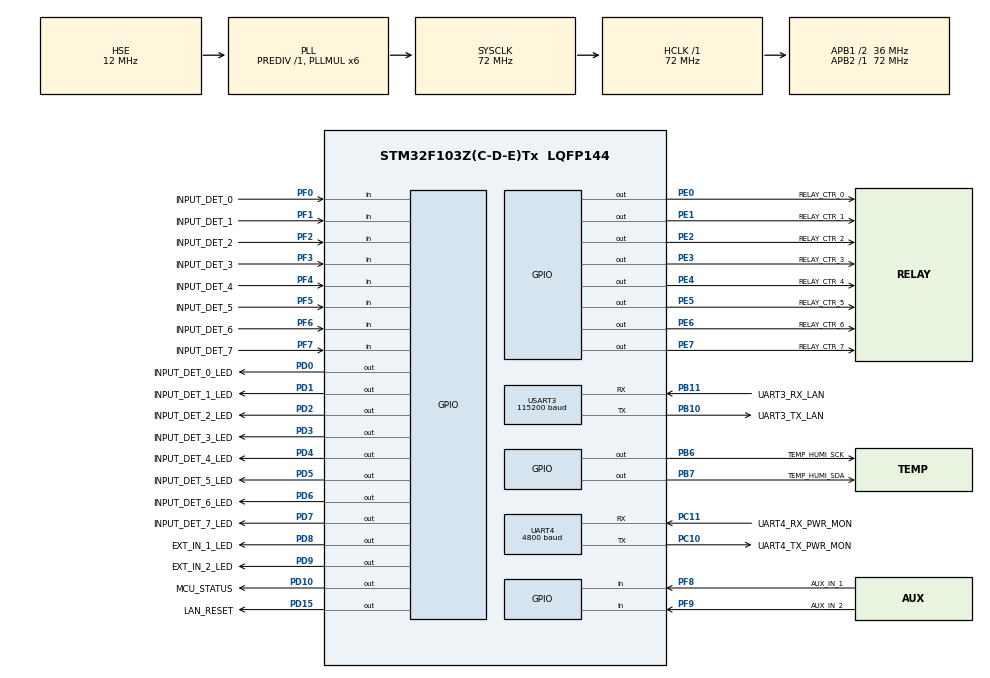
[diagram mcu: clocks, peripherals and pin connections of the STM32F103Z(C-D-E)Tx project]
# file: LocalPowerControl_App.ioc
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IWDG.Prescaler=IWDG_PRESCALER_256
IWDG.Reload=625
Mcu.Family=STM32F1
Mcu.Name=STM32F103Z(C-D-E)Tx
Mcu.Package=LQFP144
NVIC.PriorityGroup=NVIC_PRIORITYGROUP_4
NVIC.TIM2_IRQn=true\:0\:0\:false\:false\:true\:true\:true
NVIC.TIM3_IRQn=true\:0\:0\:false\:false\:true\:true\:true
NVIC.UART4_IRQn=true\:0\:0\:false\:false\:true\:true\:true
NVIC.USART3_IRQn=true\:0\:0\:false\:false\:true\:true\:true
OSC_IN.Mode=HSE-External-Oscillator
OSC_IN.Signal=RCC_OSC_IN
OSC_OUT.Mode=HSE-External-Oscillator
OSC_OUT.Signal=RCC_OSC_OUT
PA13.Mode=JTAG_5_pins
PA13.Signal=SYS_JTMS-SWDIO
PA14.Mode=JTAG_5_pins
PA14.Signal=SYS_JTCK-SWCLK
PA15.Mode=JTAG_5_pins
PA15.Signal=SYS_JTDI
PB10.GPIO_Label=UART3_TX_LAN
PB10.Mode=Asynchronous
PB10.Signal=USART3_TX
PB11.GPIO_Label=UART3_RX_LAN
PB11.Mode=Asynchronous
PB11.Signal=USART3_RX
PB3.Mode=JTAG_5_pins
PB3.Signal=SYS_JTDO-TRACESWO
PB4.Mode=JTAG_5_pins
PB4.Signal=SYS_NJTRST
PB6.GPIO_Label=TEMP_HUMI_SCK
PB6.Signal=GPIO_Output
PB7.GPIO_Label=TEMP_HUMI_SDA
PB7.Signal=GPIO_Output
PC10.GPIO_Label=UART4_TX_PWR_MON
PC10.Mode=Asynchronous
PC10.Signal=UART4_TX
PC11.GPIO_Label=UART4_RX_PWR_MON
PC11.Mode=Asynchronous
PC11.Signal=UART4_RX
PD0.GPIO_Label=INPUT_DET_0_LED
PD0.Signal=GPIO_Output
PD1.GPIO_Label=INPUT_DET_1_LED
PD1.Signal=GPIO_Output
PD10.GPIO_Label=MCU_STATUS
PD10.Signal=GPIO_Output
PD15.GPIO_Label=LAN_RESET
PD15.Signal=GPIO_Output
PD2.GPIO_Label=INPUT_DET_2_LED
PD2.Signal=GPIO_Output
PD3.GPIO_Label=INPUT_DET_3_LED
PD3.Signal=GPIO_Output
PD4.GPIO_Label=INPUT_DET_4_LED
PD4.Signal=GPIO_Output
PD5.GPIO_Label=INPUT_DET_5_LED
PD5.Signal=GPIO_Output
PD6.GPIO_Label=INPUT_DET_6_LED
PD6.Signal=GPIO_Output
PD7.GPIO_Label=INPUT_DET_7_LED
PD7.Signal=GPIO_Output
PD8.GPIO_Label=EXT_IN_1_LED
PD8.Signal=GPIO_Output
PD9.GPIO_Label=EXT_IN_2_LED
PD9.Signal=GPIO_Output
PE0.GPIO_Label=RELAY_CTR_0
PE0.Signal=GPIO_Output
PE1.GPIO_Label=RELAY_CTR_1
PE1.Signal=GPIO_Output
PE2.GPIO_Label=RELAY_CTR_2
PE2.Signal=GPIO_Output
PE3.GPIO_Label=RELAY_CTR_3
PE3.Signal=GPIO_Output
PE4.GPIO_Label=RELAY_CTR_4
PE4.Signal=GPIO_Output
PE5.GPIO_Label=RELAY_CTR_5
PE5.Signal=GPIO_Output
PE6.GPIO_Label=RELAY_CTR_6
PE6.Signal=GPIO_Output
PE7.GPIO_Label=RELAY_CTR_7
PE7.Signal=GPIO_Output
PF0.GPIO_Label=INPUT_DET_0
PF0.Signal=GPIO_Input
PF1.GPIO_Label=INPUT_DET_1
PF1.Signal=GPIO_Input
PF2.GPIO_Label=INPUT_DET_2
PF2.Signal=GPIO_Input
PF3.GPIO_Label=INPUT_DET_3
PF3.Signal=GPIO_Input
PF4.GPIO_Label=INPUT_DET_4
PF4.Signal=GPIO_Input
PF5.GPIO_Label=INPUT_DET_5
PF5.Signal=GPIO_Input
PF6.GPIO_Label=INPUT_DET_6
PF6.Signal=GPIO_Input
PF7.GPIO_Label=INPUT_DET_7
PF7.Signal=GPIO_Input
PF8.GPIO_Label=AUX_IN_1
PF8.Signal=GPIO_Input
PF9.GPIO_Label=AUX_IN_2
PF9.Signal=GPIO_Input
ProjectManager.HeapSize=0x200
ProjectManager.StackSize=0x400
ProjectManager.TargetToolchain=EWARM V7
RCC.AHBFreq_Value=72000000
RCC.APB1CLKDivider=RCC_HCLK_DIV2
RCC.APB1Freq_Value=36000000
RCC.APB1TimFreq_Value=72000000
RCC.APB2Freq_Value=72000000
RCC.APB2TimFreq_Value=72000000
RCC.HCLKFreq_Value=72000000
RCC.HSE_VALUE=12000000
RCC.PLLMUL=RCC_PLL_MUL6
RCC.PLLSourceVirtual=RCC_PLLSOURCE_HSE
RCC.RCC_MCOSource=RCC_MCO1SOURCE_PLLCLK
RCC.SYSCLKFreq_VALUE=72000000
RCC.SYSCLKSource=RCC_SYSCLKSOURCE_PLLCLK
RCC.USBFreq_Value=72000000
TIM2.AutoReloadPreload=TIM_AUTORELOAD_PRELOAD_DISABLE
TIM2.Period=999
TIM2.Prescaler=72
TIM3.Period=1
TIM3.Prescaler=72
UART4.BaudRate=4800
UART4.VirtualMode=Asynchronous
USART3.BaudRate=115200
USART3.VirtualMode=VM_ASYNC
VP_IWDG_VS_IWDG.Mode=IWDG_Activate
VP_TIM2_VS_ClockSourceINT.Mode=Internal
VP_TIM3_VS_ClockSourceINT.Mode=Internal
board=custom

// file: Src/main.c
/* USER CODE BEGIN Header */
/**
  ******************************************************************************
  * @file           : main.c
  * @brief          : Main program body
  ******************************************************************************
  * @attention
  *
  * <h2><center>&copy; Copyright (c) 2019 STMicroelectronics.
  * All rights reserved.</center></h2>
  *
  * This software component is licensed by ST under BSD 3-Clause license,
  * the "License"; You may not use this file except in compliance with the
  * License. You may obtain a copy of the License at:
  *                        opensource.org/licenses/BSD-3-Clause
  *
  ******************************************************************************
  */
/* USER CODE END Header */

#include "main.h"

/* USER CODE BEGIN Includes */
#include "eeprom.h"
#pragma location=".Ver_Info"
const unsigned char VerInfo[8] = {0x7E, 0x81, 0x96, 0xA5, 0x64, 0x42, 1, 0};	// Parsing Flag + Version 0.1
#pragma location=".App_Start"
/* USER CODE END Includes */

IWDG_HandleTypeDef hiwdg;

TIM_HandleTypeDef htim2;
TIM_HandleTypeDef htim3;

UART_HandleTypeDef huart4;
UART_HandleTypeDef huart3;

/* USER CODE BEGIN PV */
unsigned int TimerDelay;
unsigned int TimerShtRead;
unsigned int TimerRefreshIwdg;
unsigned int TimerInputScan;
unsigned int TimerMcuStatusLed;
unsigned int TimerUart3Parsing;
unsigned int TimerUart4Parsing;
unsigned int TimerLedForChannel;
unsigned int Timer1ms = 1000;
unsigned int Timer10us;
unsigned char McuStatusLedState;

unsigned char Uart3TxBuf[UART3_TX_BUF_SIZE];
unsigned char Uart3RxBuf[UART3_RX_BUF_SIZE];
unsigned char Uart3DataBuf[UART3_DATA_BUF_SIZE];
unsigned short Uart3RxWrCnt;
unsigned short Uart3RxRdCnt;
unsigned char Uart3RxData;
unsigned char Uart3ParsingState;
unsigned short Uart3Cks;
unsigned short Uart3DataLength;
unsigned short Uart3DataCnt;
unsigned char Uart3Cmd;

unsigned char Uart4TxBuf[UART4_TX_BUF_SIZE];
unsigned char Uart4RxBuf[UART4_RX_BUF_SIZE];
unsigned char Uart4DataBuf[UART4_DATA_BUF_SIZE];
unsigned char Uart4RxWrCnt;
unsigned char Uart4RxRdCnt;
unsigned char Uart4RxData;
unsigned char Uart4ParsingState;
unsigned char Uart4Cks;
unsigned char Uart4DataLength;
unsigned char Uart4DataCnt;
unsigned char Uart4Cmd;

unsigned char ChannelRelayState;
unsigned char InputScanState;
unsigned int InputOld;
unsigned int InputNow;
unsigned short ShtStatusReg;
double TemperatureRaw;
unsigned short Temperature;
double HumidityRaw;
unsigned short Humidity;
unsigned char ShtCmd;
GPIO_TypeDef* LedPort[8] =
{
	INPUT_DET_0_LED_GPIO_Port,
	INPUT_DET_1_LED_GPIO_Port,
	INPUT_DET_2_LED_GPIO_Port,
	INPUT_DET_3_LED_GPIO_Port,
	INPUT_DET_4_LED_GPIO_Port,
	INPUT_DET_5_LED_GPIO_Port,
	INPUT_DET_6_LED_GPIO_Port,
	INPUT_DET_7_LED_GPIO_Port,
};
unsigned short LedPin[8] =
{
	INPUT_DET_0_LED_Pin,
	INPUT_DET_1_LED_Pin,
	INPUT_DET_2_LED_Pin,
	INPUT_DET_3_LED_Pin,
	INPUT_DET_4_LED_Pin,
	INPUT_DET_5_LED_Pin,
	INPUT_DET_6_LED_Pin,
	INPUT_DET_7_LED_Pin,
};
unsigned char LedCnt=0;
unsigned char LedForChannel_OnOff=0;

unsigned short VirtAddVarTab[NB_OF_VAR] = {
	0x0000,0x0001,0x0002,0x0003,0x0004,0x0005,0x0006,0x0007,0x0008,0x0009,0x000A,0x000B,0x000C,0x000D,0x000E,0x000F,	// 00~15 (for BootLoader)
	0x0010,0x0011,0x0012,0x0013,0x0014,0x0015,0x0016,0x0017,0x0018,0x0019,0x001A,0x001B,0x001C,0x001D,0x001E,0x001F,	// 16~31 (for App)
	0x0020,0x0021,0x0022,0x0023,0x0024,0x0025,0x0026,0x0027,0x0028,0x0029,0x002A,0x002B,0x002C,0x002D,0x002E,0x002F,	// 32~47 (for App)
	0x0030,0x0031,0x0032,0x0033,0x0034,0x0035,0x0036,0x0037,0x0038,0x0039,0x003A,0x003B,0x003C,0x003D,0x003E,0x003F,	// 48~63 (for App)
};
unsigned short VarDataTab[NB_OF_VAR] = {
	0x1234,0,0,0,0,RELAY_OFF,0,
};
unsigned short VarValue = 0;
/* USER CODE END PV */

void SystemClock_Config(void);
static void MX_GPIO_Init(void);
static void MX_IWDG_Init(void);
static void MX_UART4_Init(void);
static void MX_USART3_UART_Init(void);
static void MX_TIM2_Init(void);
static void MX_TIM3_Init(void);
/* USER CODE BEGIN PFP */
void Eeprom_Check_Init(void);
unsigned short Eeprom_Read(unsigned short Addr);
unsigned short Eeprom_Write(unsigned short Addr, unsigned short Value);
void GpioModeChange(GPIO_TypeDef * Port, unsigned short Pin, unsigned char InOutMode);
void Delay10us(unsigned int DelayCnt);
void ReadStatusRegSht(void);
unsigned char SendCmdSht(unsigned char Cmd);
void ReadMeasureSht(void);
void Channel_Relay_Cont(unsigned char Channel, unsigned char OnOff);
void Led_Cont(unsigned char Led, GPIO_PinState OnOff);
void Refresh_IWDG(void);
void Input_Scan(void);
void MCU_Status_Led_Cont(void);
void LedForChannel_Display(void);
void Send_BoardToPc_WithCks(unsigned char* pBuf, unsigned short Length);
void Send_BoardToPwrMon_WithCks(unsigned char* pBuf, unsigned char Length);
void Uart3_Ethernet_Parsing(void);
void Uart4_PwrMon_Parsing(void);
/* USER CODE END PFP */

/* USER CODE BEGIN 0 */
void HAL_TIM_PeriodElapsedCallback(TIM_HandleTypeDef *htim)
{
	if(htim->Instance == TIM2)
	{
		if(TimerDelay)
		{
			TimerDelay--;
		}
		if(TimerShtRead)
		{
			TimerShtRead--;
		}
		if(TimerRefreshIwdg)
		{
			TimerRefreshIwdg--;
		}
		if(TimerInputScan)
		{
			TimerInputScan--;
		}
		if(TimerMcuStatusLed)
		{
			TimerMcuStatusLed--;
		}
		if(TimerUart3Parsing)
		{
			TimerUart3Parsing--;
		}
		if(TimerUart4Parsing)
		{
			TimerUart4Parsing--;
		}
		if(TimerLedForChannel)
		{
			TimerLedForChannel--;
		}
		if(Timer1ms)
		{
			Timer1ms--;
			if(Timer1ms==0)
			{
				Timer1ms = 1000;
			}
		}
	}
	if(htim->Instance == TIM3)
	{
		if(Timer10us)
		{
			Timer10us--;
		}
	}
}

void HAL_UART_RxCpltCallback(UART_HandleTypeDef *huart)
{
	if(huart->Instance==USART3)
	{
		Uart3RxBuf[Uart3RxWrCnt] = Uart3RxData;
		HAL_UART_Receive_IT(&huart3, &Uart3RxData, 1);
		Uart3RxWrCnt++;
		if(Uart3RxWrCnt==UART3_RX_BUF_SIZE)
		{
			Uart3RxWrCnt = 0;
		}
	}
	if(huart->Instance==UART4)
	{
		Uart4RxBuf[Uart4RxWrCnt] = Uart4RxData;
		HAL_UART_Receive_IT(&huart4, &Uart4RxData, 1);
		Uart4RxWrCnt++;
		if(Uart4RxWrCnt==UART4_RX_BUF_SIZE)
		{
			Uart4RxWrCnt = 0;
		}
	}
}
/* USER CODE END 0 */

int main(void)
{

  /* MCU Configuration--------------------------------------------------------*/

  /* Reset of all peripherals, Initializes the Flash interface and the Systick. */
  HAL_Init();

  /* Configure the system clock */
  SystemClock_Config();

  /* USER CODE BEGIN SysInit */
	Eeprom_Check_Init();	// bySeo_20190712
  /* USER CODE END SysInit */

  /* Initialize all configured peripherals */
  MX_GPIO_Init();
  MX_IWDG_Init();
  MX_UART4_Init();
  MX_USART3_UART_Init();
  MX_TIM2_Init();
  MX_TIM3_Init();
  /* USER CODE BEGIN 2 */
	HAL_GPIO_WritePin(LAN_RESET_GPIO_Port, LAN_RESET_Pin, GPIO_PIN_SET);
	HAL_TIM_Base_Start_IT(&htim2);
	HAL_UART_Receive_IT(&huart3, &Uart3RxData, 1);
	HAL_UART_Receive_IT(&huart4, &Uart4RxData, 1);
	ChannelRelayState = Eeprom_Read(EEPROM_IDX_CHANNEL_RELAY_STATUS);
	Channel_Relay_Cont(ChannelRelayState, RELAY_ON);
	Channel_Relay_Cont(~ChannelRelayState, RELAY_OFF);
	InputNow = INPUT_DET_0_GPIO_Port->IDR;
	InputOld = InputNow;
	Led_Cont(~InputOld & 0x000000FF, GPIO_PIN_RESET);	// Input Detect LED On
	Led_Cont(InputOld & 0x000000FF, GPIO_PIN_SET);	// Input Detect LED Off
	Led_Cont(InputOld & 0x00000300, GPIO_PIN_RESET);	// Aux In LED On
	Led_Cont(~InputOld & 0x00000300, GPIO_PIN_SET);	// Aux In LED Off
	MCU_Status_Led_Cont();
	TimerDelay = 100;
	while(TimerDelay);
	HAL_GPIO_WritePin(LAN_RESET_GPIO_Port, LAN_RESET_Pin, GPIO_PIN_RESET);
	ShtCmd=0x07;
	SendCmdSht(ShtCmd);	// Read Status Register
	ReadStatusRegSht();
	ShtCmd=0x03;	// Measure Temperature
	SendCmdSht(ShtCmd);
	TimerShtRead = 500;
	Uart4TxBuf[2] = 0x41;
	Uart4TxBuf[3] = 0x00;
	Uart4TxBuf[4] = 0x02;
	Uart4TxBuf[5] = 0x4E;
	Uart4TxBuf[6] = 0x20;
	Send_BoardToPwrMon_WithCks(Uart4TxBuf, 8);
  /* USER CODE END 2 */

  /* Infinite loop */
  /* USER CODE BEGIN WHILE */
  while (1)
  {
	Refresh_IWDG();
	Input_Scan();
	MCU_Status_Led_Cont();
	LedForChannel_Display();
	ReadMeasureSht();
	Uart3_Ethernet_Parsing();
	Uart4_PwrMon_Parsing();
    /* USER CODE END WHILE */

  }
}

void SystemClock_Config(void)
{
  RCC_OscInitTypeDef RCC_OscInitStruct = {0};
  RCC_ClkInitTypeDef RCC_ClkInitStruct = {0};

  /** Initializes the CPU, AHB and APB busses clocks
  */
  RCC_OscInitStruct.OscillatorType = RCC_OSCILLATORTYPE_LSI|RCC_OSCILLATORTYPE_HSE;
  RCC_OscInitStruct.HSEState = RCC_HSE_ON;
  RCC_OscInitStruct.HSEPredivValue = RCC_HSE_PREDIV_DIV1;
  RCC_OscInitStruct.HSIState = RCC_HSI_ON;
  RCC_OscInitStruct.LSIState = RCC_LSI_ON;
  RCC_OscInitStruct.PLL.PLLState = RCC_PLL_ON;
  RCC_OscInitStruct.PLL.PLLSource = RCC_PLLSOURCE_HSE;
  RCC_OscInitStruct.PLL.PLLMUL = RCC_PLL_MUL6;
  if (HAL_RCC_OscConfig(&RCC_OscInitStruct) != HAL_OK)
  {
    Error_Handler();
  }
  /** Initializes the CPU, AHB and APB busses clocks
  */
  RCC_ClkInitStruct.ClockType = RCC_CLOCKTYPE_HCLK|RCC_CLOCKTYPE_SYSCLK
                              |RCC_CLOCKTYPE_PCLK1|RCC_CLOCKTYPE_PCLK2;
  RCC_ClkInitStruct.SYSCLKSource = RCC_SYSCLKSOURCE_PLLCLK;
  RCC_ClkInitStruct.AHBCLKDivider = RCC_SYSCLK_DIV1;
  RCC_ClkInitStruct.APB1CLKDivider = RCC_HCLK_DIV2;
  RCC_ClkInitStruct.APB2CLKDivider = RCC_HCLK_DIV1;

  if (HAL_RCC_ClockConfig(&RCC_ClkInitStruct, FLASH_LATENCY_2) != HAL_OK)
  {
    Error_Handler();
  }
}

static void MX_IWDG_Init(void)
{

  hiwdg.Instance = IWDG;
  hiwdg.Init.Prescaler = IWDG_PRESCALER_256;
  hiwdg.Init.Reload = 625;
  if (HAL_IWDG_Init(&hiwdg) != HAL_OK)
  {
    Error_Handler();
  }

}

static void MX_TIM2_Init(void)
{

  TIM_ClockConfigTypeDef sClockSourceConfig = {0};
  TIM_MasterConfigTypeDef sMasterConfig = {0};

  htim2.Instance = TIM2;
  htim2.Init.Prescaler = 72;
  htim2.Init.CounterMode = TIM_COUNTERMODE_UP;
  htim2.Init.Period = 999;
  htim2.Init.ClockDivision = TIM_CLOCKDIVISION_DIV1;
  htim2.Init.AutoReloadPreload = TIM_AUTORELOAD_PRELOAD_DISABLE;
  if (HAL_TIM_Base_Init(&htim2) != HAL_OK)
  {
    Error_Handler();
  }
  sClockSourceConfig.ClockSource = TIM_CLOCKSOURCE_INTERNAL;
  if (HAL_TIM_ConfigClockSource(&htim2, &sClockSourceConfig) != HAL_OK)
  {
    Error_Handler();
  }
  sMasterConfig.MasterOutputTrigger = TIM_TRGO_RESET;
  sMasterConfig.MasterSlaveMode = TIM_MASTERSLAVEMODE_DISABLE;
  if (HAL_TIMEx_MasterConfigSynchronization(&htim2, &sMasterConfig) != HAL_OK)
  {
    Error_Handler();
  }

}

static void MX_TIM3_Init(void)
{

  TIM_ClockConfigTypeDef sClockSourceConfig = {0};
  TIM_MasterConfigTypeDef sMasterConfig = {0};

  htim3.Instance = TIM3;
  htim3.Init.Prescaler = 72;
  htim3.Init.CounterMode = TIM_COUNTERMODE_UP;
  htim3.Init.Period = 1;
  htim3.Init.ClockDivision = TIM_CLOCKDIVISION_DIV1;
  htim3.Init.AutoReloadPreload = TIM_AUTORELOAD_PRELOAD_DISABLE;
  if (HAL_TIM_Base_Init(&htim3) != HAL_OK)
  {
    Error_Handler();
  }
  sClockSourceConfig.ClockSource = TIM_CLOCKSOURCE_INTERNAL;
  if (HAL_TIM_ConfigClockSource(&htim3, &sClockSourceConfig) != HAL_OK)
  {
    Error_Handler();
  }
  sMasterConfig.MasterOutputTrigger = TIM_TRGO_RESET;
  sMasterConfig.MasterSlaveMode = TIM_MASTERSLAVEMODE_DISABLE;
  if (HAL_TIMEx_MasterConfigSynchronization(&htim3, &sMasterConfig) != HAL_OK)
  {
    Error_Handler();
  }

}

static void MX_UART4_Init(void)
{

  huart4.Instance = UART4;
  huart4.Init.BaudRate = 4800;
  huart4.Init.WordLength = UART_WORDLENGTH_8B;
  huart4.Init.StopBits = UART_STOPBITS_1;
  huart4.Init.Parity = UART_PARITY_NONE;
  huart4.Init.Mode = UART_MODE_TX_RX;
  huart4.Init.HwFlowCtl = UART_HWCONTROL_NONE;
  huart4.Init.OverSampling = UART_OVERSAMPLING_16;
  if (HAL_UART_Init(&huart4) != HAL_OK)
  {
    Error_Handler();
  }

}

static void MX_USART3_UART_Init(void)
{

  huart3.Instance = USART3;
  huart3.Init.BaudRate = 115200;
  huart3.Init.WordLength = UART_WORDLENGTH_8B;
  huart3.Init.StopBits = UART_STOPBITS_1;
  huart3.Init.Parity = UART_PARITY_NONE;
  huart3.Init.Mode = UART_MODE_TX_RX;
  huart3.Init.HwFlowCtl = UART_HWCONTROL_NONE;
  huart3.Init.OverSampling = UART_OVERSAMPLING_16;
  if (HAL_UART_Init(&huart3) != HAL_OK)
  {
    Error_Handler();
  }

}

static void MX_GPIO_Init(void)
{
  GPIO_InitTypeDef GPIO_InitStruct = {0};

  /* GPIO Ports Clock Enable */
  __HAL_RCC_GPIOE_CLK_ENABLE();
  __HAL_RCC_GPIOC_CLK_ENABLE();
  __HAL_RCC_GPIOF_CLK_ENABLE();
  __HAL_RCC_GPIOA_CLK_ENABLE();
  __HAL_RCC_GPIOB_CLK_ENABLE();
  __HAL_RCC_GPIOG_CLK_ENABLE();
  __HAL_RCC_GPIOD_CLK_ENABLE();

  /*Configure GPIO pin Output Level */
  HAL_GPIO_WritePin(GPIOE, RELAY_CTR_2_Pin|RELAY_CTR_3_Pin|RELAY_CTR_4_Pin|RELAY_CTR_5_Pin
                          |RELAY_CTR_6_Pin|RELAY_CTR_7_Pin|RELAY_CTR_0_Pin|RELAY_CTR_1_Pin, GPIO_PIN_RESET);

  /*Configure GPIO pin Output Level */
  HAL_GPIO_WritePin(GPIOD, EXT_IN_1_LED_Pin|EXT_IN_2_LED_Pin|MCU_STATUS_Pin|LAN_RESET_Pin
                          |INPUT_DET_0_LED_Pin|INPUT_DET_1_LED_Pin|INPUT_DET_2_LED_Pin|INPUT_DET_3_LED_Pin
                          |INPUT_DET_4_LED_Pin|INPUT_DET_5_LED_Pin|INPUT_DET_6_LED_Pin|INPUT_DET_7_LED_Pin, GPIO_PIN_RESET);

  /*Configure GPIO pin Output Level */
  HAL_GPIO_WritePin(GPIOB, TEMP_HUMI_SCK_Pin|TEMP_HUMI_SDA_Pin, GPIO_PIN_RESET);

  /*Configure GPIO pins : RELAY_CTR_2_Pin RELAY_CTR_3_Pin RELAY_CTR_4_Pin RELAY_CTR_5_Pin
                           RELAY_CTR_6_Pin RELAY_CTR_7_Pin RELAY_CTR_0_Pin RELAY_CTR_1_Pin */
  GPIO_InitStruct.Pin = RELAY_CTR_2_Pin|RELAY_CTR_3_Pin|RELAY_CTR_4_Pin|RELAY_CTR_5_Pin
                          |RELAY_CTR_6_Pin|RELAY_CTR_7_Pin|RELAY_CTR_0_Pin|RELAY_CTR_1_Pin;
  GPIO_InitStruct.Mode = GPIO_MODE_OUTPUT_PP;
  GPIO_InitStruct.Pull = GPIO_NOPULL;
  GPIO_InitStruct.Speed = GPIO_SPEED_FREQ_LOW;
  HAL_GPIO_Init(GPIOE, &GPIO_InitStruct);

  /*Configure GPIO pins : PC13 PC14 PC15 PC0
                           PC1 PC2 PC3 PC4
                           PC5 PC6 PC7 PC8
                           PC9 PC12 */
  GPIO_InitStruct.Pin = GPIO_PIN_13|GPIO_PIN_14|GPIO_PIN_15|GPIO_PIN_0
                          |GPIO_PIN_1|GPIO_PIN_2|GPIO_PIN_3|GPIO_PIN_4
                          |GPIO_PIN_5|GPIO_PIN_6|GPIO_PIN_7|GPIO_PIN_8
                          |GPIO_PIN_9|GPIO_PIN_12;
  GPIO_InitStruct.Mode = GPIO_MODE_ANALOG;
  HAL_GPIO_Init(GPIOC, &GPIO_InitStruct);

  /*Configure GPIO pins : INPUT_DET_0_Pin INPUT_DET_1_Pin INPUT_DET_2_Pin INPUT_DET_3_Pin
                           INPUT_DET_4_Pin INPUT_DET_5_Pin INPUT_DET_6_Pin INPUT_DET_7_Pin
                           AUX_IN_1_Pin AUX_IN_2_Pin */
  GPIO_InitStruct.Pin = INPUT_DET_0_Pin|INPUT_DET_1_Pin|INPUT_DET_2_Pin|INPUT_DET_3_Pin
                          |INPUT_DET_4_Pin|INPUT_DET_5_Pin|INPUT_DET_6_Pin|INPUT_DET_7_Pin
                          |AUX_IN_1_Pin|AUX_IN_2_Pin;
  GPIO_InitStruct.Mode = GPIO_MODE_INPUT;
  GPIO_InitStruct.Pull = GPIO_NOPULL;
  HAL_GPIO_Init(GPIOF, &GPIO_InitStruct);

  /*Configure GPIO pins : PF10 PF11 PF12 PF13
                           PF14 PF15 */
  GPIO_InitStruct.Pin = GPIO_PIN_10|GPIO_PIN_11|GPIO_PIN_12|GPIO_PIN_13
                          |GPIO_PIN_14|GPIO_PIN_15;
  GPIO_InitStruct.Mode = GPIO_MODE_ANALOG;
  HAL_GPIO_Init(GPIOF, &GPIO_InitStruct);

  /*Configure GPIO pins : PA0 PA1 PA2 PA3
                           PA4 PA5 PA6 PA7
                           PA8 PA9 PA10 PA11
                           PA12 */
  GPIO_InitStruct.Pin = GPIO_PIN_0|GPIO_PIN_1|GPIO_PIN_2|GPIO_PIN_3
                          |GPIO_PIN_4|GPIO_PIN_5|GPIO_PIN_6|GPIO_PIN_7
                          |GPIO_PIN_8|GPIO_PIN_9|GPIO_PIN_10|GPIO_PIN_11
                          |GPIO_PIN_12;
  GPIO_InitStruct.Mode = GPIO_MODE_ANALOG;
  HAL_GPIO_Init(GPIOA, &GPIO_InitStruct);

  /*Configure GPIO pins : PB0 PB1 PB2 PB12
                           PB13 PB14 PB15 PB5
                           PB8 PB9 */
  GPIO_InitStruct.Pin = GPIO_PIN_0|GPIO_PIN_1|GPIO_PIN_2|GPIO_PIN_12
                          |GPIO_PIN_13|GPIO_PIN_14|GPIO_PIN_15|GPIO_PIN_5
                          |GPIO_PIN_8|GPIO_PIN_9;
  GPIO_InitStruct.Mode = GPIO_MODE_ANALOG;
  HAL_GPIO_Init(GPIOB, &GPIO_InitStruct);

  /*Configure GPIO pins : PG0 PG1 PG2 PG3
                           PG4 PG5 PG6 PG7
                           PG8 PG9 PG10 PG11
                           PG12 PG13 PG14 PG15 */
  GPIO_InitStruct.Pin = GPIO_PIN_0|GPIO_PIN_1|GPIO_PIN_2|GPIO_PIN_3
                          |GPIO_PIN_4|GPIO_PIN_5|GPIO_PIN_6|GPIO_PIN_7
                          |GPIO_PIN_8|GPIO_PIN_9|GPIO_PIN_10|GPIO_PIN_11
                          |GPIO_PIN_12|GPIO_PIN_13|GPIO_PIN_14|GPIO_PIN_15;
  GPIO_InitStruct.Mode = GPIO_MODE_ANALOG;
  HAL_GPIO_Init(GPIOG, &GPIO_InitStruct);

  /*Configure GPIO pins : PE8 PE9 PE10 PE11
                           PE12 PE13 PE14 PE15 */
  GPIO_InitStruct.Pin = GPIO_PIN_8|GPIO_PIN_9|GPIO_PIN_10|GPIO_PIN_11
                          |GPIO_PIN_12|GPIO_PIN_13|GPIO_PIN_14|GPIO_PIN_15;
  GPIO_InitStruct.Mode = GPIO_MODE_ANALOG;
  HAL_GPIO_Init(GPIOE, &GPIO_InitStruct);

  /*Configure GPIO pins : EXT_IN_1_LED_Pin EXT_IN_2_LED_Pin MCU_STATUS_Pin LAN_RESET_Pin
                           INPUT_DET_0_LED_Pin INPUT_DET_1_LED_Pin INPUT_DET_2_LED_Pin INPUT_DET_3_LED_Pin
                           INPUT_DET_4_LED_Pin INPUT_DET_5_LED_Pin INPUT_DET_6_LED_Pin INPUT_DET_7_LED_Pin */
  GPIO_InitStruct.Pin = EXT_IN_1_LED_Pin|EXT_IN_2_LED_Pin|MCU_STATUS_Pin|LAN_RESET_Pin
                          |INPUT_DET_0_LED_Pin|INPUT_DET_1_LED_Pin|INPUT_DET_2_LED_Pin|INPUT_DET_3_LED_Pin
                          |INPUT_DET_4_LED_Pin|INPUT_DET_5_LED_Pin|INPUT_DET_6_LED_Pin|INPUT_DET_7_LED_Pin;
  GPIO_InitStruct.Mode = GPIO_MODE_OUTPUT_PP;
  GPIO_InitStruct.Pull = GPIO_NOPULL;
  GPIO_InitStruct.Speed = GPIO_SPEED_FREQ_LOW;
  HAL_GPIO_Init(GPIOD, &GPIO_InitStruct);

  /*Configure GPIO pins : PD11 PD12 PD13 PD14 */
  GPIO_InitStruct.Pin = GPIO_PIN_11|GPIO_PIN_12|GPIO_PIN_13|GPIO_PIN_14;
  GPIO_InitStruct.Mode = GPIO_MODE_ANALOG;
  HAL_GPIO_Init(GPIOD, &GPIO_InitStruct);

  /*Configure GPIO pins : TEMP_HUMI_SCK_Pin TEMP_HUMI_SDA_Pin */
  GPIO_InitStruct.Pin = TEMP_HUMI_SCK_Pin|TEMP_HUMI_SDA_Pin;
  GPIO_InitStruct.Mode = GPIO_MODE_OUTPUT_PP;
  GPIO_InitStruct.Pull = GPIO_NOPULL;
  GPIO_InitStruct.Speed = GPIO_SPEED_FREQ_LOW;
  HAL_GPIO_Init(GPIOB, &GPIO_InitStruct);

}

/* USER CODE BEGIN 4 */
void Eeprom_Check_Init(void)
{
	unsigned char Cnt = 0;
	unsigned short Ret = 0;

	HAL_FLASH_Unlock();
	EE_Init();
	Ret = EE_ReadVariable(EEPROM_IDX_EEPROM_INIT_FLAG, &VarValue);	// EEPROM Addr0 is for EEPROM Initialization
	switch(Ret)
	{
		case 0x0000:	// Variable was found
			if(VarValue != 0x1234)	// EEPROM Address is not initialized
			{	// Initialize EEPROM Address
				for(Cnt=0; Cnt<NB_OF_VAR; Cnt++)
				{
					Eeprom_Write(Cnt, VarDataTab[Cnt]);
				}
			}
			break;
		case 0x0001:	// Variable was not found
			for(Cnt=0; Cnt<NB_OF_VAR; Cnt++)
			{	// Initialize EEPROM Address
				Eeprom_Write(Cnt, VarDataTab[Cnt]);
			}
			break;
		case NO_VALID_PAGE:
			break;
	}
}

unsigned short Eeprom_Read(unsigned short Addr)
{
	unsigned short Val;

	EE_ReadVariable(Addr, &Val);
	return Val;
}

unsigned short Eeprom_Write(unsigned short Addr, unsigned short Value)
{
	unsigned short Ret;

	if(Eeprom_Read(Addr) != Value)
	{
		HAL_FLASH_Unlock();
		Ret = EE_WriteVariable(Addr, Value);
		HAL_FLASH_Lock();
	}
	return Ret;
}

void Delay10us(unsigned int DelayCnt)
{
	if(DelayCnt)
	{
		Timer10us = DelayCnt;
		HAL_TIM_Base_Start_IT(&htim3);
		while(Timer10us);
		HAL_TIM_Base_Stop(&htim3);
	}
}

void GpioModeChange(GPIO_TypeDef * Port, unsigned short Pin, unsigned char InOutMode)
{
	GPIO_InitTypeDef GPIO_InitStruct = {0};

	GPIO_InitStruct.Pin = Pin;
	switch(InOutMode)
	{
		case 0:	// Input Mode
			GPIO_InitStruct.Mode = GPIO_MODE_INPUT;
			break;
		case 1:	// Output Mode
			GPIO_InitStruct.Mode = GPIO_MODE_OUTPUT_PP;
			GPIO_InitStruct.Speed = GPIO_SPEED_FREQ_LOW;
			break;
	}
	HAL_GPIO_Init(Port, &GPIO_InitStruct);
}

unsigned char SendCmdSht(unsigned char Cmd)
{
	unsigned char Cnt = 0;
	unsigned char Ret = 0;

	GpioModeChange(TEMP_HUMI_SDA_GPIO_Port, TEMP_HUMI_SDA_Pin, 1);
	SHT_DATA_HIGH;
	Delay10us(1);
	SHT_SCK_HIGH;
	Delay10us(1);
	SHT_DATA_LOW;
	Delay10us(1);
	SHT_SCK_LOW;
	Delay10us(2);
	SHT_SCK_HIGH;
	Delay10us(1);
	SHT_DATA_HIGH;
	Delay10us(1);
	SHT_SCK_LOW;
	Delay10us(1);
	for(;Cnt<8; Cnt++)
	{
		if(Cmd & (0x80 >> Cnt))
		{
			SHT_DATA_HIGH;
		}
		else
		{
			SHT_DATA_LOW;
		}
		SHT_SCK_HIGH;
		Delay10us(1);
		SHT_SCK_LOW;
		Delay10us(1);
	}
	GpioModeChange(TEMP_HUMI_SDA_GPIO_Port, TEMP_HUMI_SDA_Pin, 0);
	SHT_SCK_HIGH;
	Delay10us(1);
	if(HAL_GPIO_ReadPin(TEMP_HUMI_SDA_GPIO_Port, TEMP_HUMI_SDA_Pin) != GPIO_PIN_RESET)
	{
		Ret |= 0x01;	// NACK
	}
	SHT_SCK_LOW;
	Delay10us(1);
	switch(Cmd)
	{
		case 0x03:
		case 0x05:
			if(HAL_GPIO_ReadPin(TEMP_HUMI_SDA_GPIO_Port, TEMP_HUMI_SDA_Pin) != GPIO_PIN_SET)
			{
				Ret |= 0x10;	// Error
			}
			break;
		case 0x07:
			break;
	}

	return Ret;
}

void ReadStatusRegSht(void)
{
	unsigned char DataCnt = 0;
	unsigned char BitCnt = 0;
	unsigned char ShtData[2] = {0,};

	GpioModeChange(TEMP_HUMI_SDA_GPIO_Port, TEMP_HUMI_SDA_Pin, 0);	// Input Mode
	for(;DataCnt<2; DataCnt++)
	{
		for(BitCnt=0; BitCnt<8; BitCnt++)
		{
			SHT_SCK_HIGH;
			Delay10us(1);
			if(HAL_GPIO_ReadPin(TEMP_HUMI_SDA_GPIO_Port, TEMP_HUMI_SDA_Pin)==GPIO_PIN_SET)
			{
				ShtData[DataCnt] |= 0x80 >> BitCnt;
			}
			SHT_SCK_LOW;
			Delay10us(1);
		}
		/* Send ACK to SHT */
		GpioModeChange(TEMP_HUMI_SDA_GPIO_Port, TEMP_HUMI_SDA_Pin, 1);	// Output Mode
		SHT_DATA_LOW;
		Delay10us(1);
		SHT_SCK_HIGH;
		Delay10us(1);
		SHT_SCK_LOW;
		GpioModeChange(TEMP_HUMI_SDA_GPIO_Port, TEMP_HUMI_SDA_Pin, 0);	// Input Mode
		Delay10us(1);
	}
	ShtStatusReg = ShtData[0];
}

void ReadMeasureSht(void)
{
	if(TimerShtRead==0)
	{
		GpioModeChange(TEMP_HUMI_SDA_GPIO_Port, TEMP_HUMI_SDA_Pin, 0);	// Input Mode
		if(HAL_GPIO_ReadPin(TEMP_HUMI_SDA_GPIO_Port, TEMP_HUMI_SDA_Pin)==GPIO_PIN_RESET)
		{
			unsigned char DataCnt = 0;
			unsigned char BitCnt = 0;
			unsigned char ShtData[3] = {0,};
			unsigned short Data = 0;

			for(;DataCnt<3; DataCnt++)
			{
				for(BitCnt=0; BitCnt<8; BitCnt++)
				{
					SHT_SCK_HIGH;
					Delay10us(1);
					if(HAL_GPIO_ReadPin(TEMP_HUMI_SDA_GPIO_Port, TEMP_HUMI_SDA_Pin)==GPIO_PIN_SET)
					{
						ShtData[DataCnt] |= 0x80 >> BitCnt;
					}
					SHT_SCK_LOW;
					Delay10us(1);
				}
				/* Send ACK to SHT */
				GpioModeChange(TEMP_HUMI_SDA_GPIO_Port, TEMP_HUMI_SDA_Pin, 1);	// Output Mode
				SHT_DATA_LOW;
				Delay10us(1);
				SHT_SCK_HIGH;
				Delay10us(1);
				SHT_SCK_LOW;
				GpioModeChange(TEMP_HUMI_SDA_GPIO_Port, TEMP_HUMI_SDA_Pin, 0);	// Input Mode
				Delay10us(1);
			}
			Data = ((unsigned short)ShtData[0] << 8) + (unsigned short)ShtData[1];
			switch(ShtCmd)
			{
				case 0x03:	// Measure Temperature
					TemperatureRaw = 0.01*Data - 39.7;
					Temperature = (unsigned short)TemperatureRaw;
					ShtCmd = 0x05;
					break;
				case 0x05:	// Measure Relative Humidity
					HumidityRaw = 0.0367*Data + (-1.5955*Data*Data)/1000000 - 2.0468;
					Humidity = (unsigned short)HumidityRaw;
					ShtCmd = 0x03;
					break;
			}
			SendCmdSht(ShtCmd);	// Measure Relative Humidity
		}
		TimerShtRead = 500;
	}
}

void Channel_Relay_Cont(unsigned char Channel, unsigned char OnOff)
{
	if(OnOff==RELAY_ON)	// Channel Power On(Relay Off)
	{
		HAL_GPIO_WritePin(RELAY_CTR_0_GPIO_Port, Channel, GPIO_PIN_RESET);
	}
	else	// Channel Power Off(Relay On)
	{
		HAL_GPIO_WritePin(RELAY_CTR_0_GPIO_Port, Channel, GPIO_PIN_SET);
	}
}

void Led_Cont(unsigned char Led, GPIO_PinState OnOff)
{
	HAL_GPIO_WritePin(INPUT_DET_0_LED_GPIO_Port, Led, OnOff);
}

void Refresh_IWDG(void)
{
	if(TimerRefreshIwdg==0)
	{
		HAL_IWDG_Refresh(&hiwdg);
		TimerRefreshIwdg = REFRESH_IWDG_TIMEOUT;
	}
}

void Input_Scan(void)
{
	if(TimerInputScan==0)
	{
		switch(InputScanState)
		{
			case 0:
				InputNow = (unsigned char)INPUT_DET_0_GPIO_Port->IDR;
				if(InputOld != InputNow)
				{
					InputScanState = 1;
				}
				break;
			case 1:
				InputNow = INPUT_DET_0_GPIO_Port->IDR;
				if(InputOld != InputNow)
				{
					InputOld = InputNow;
					Led_Cont(~InputOld & 0x000000FF, GPIO_PIN_RESET);	// Input Detect LED On
					Led_Cont(InputOld & 0x000000FF, GPIO_PIN_SET);	// Input Detect LED Off
					Led_Cont(InputOld & 0x00000300, GPIO_PIN_RESET);	// Aux In LED On
					Led_Cont(~InputOld & 0x00000300, GPIO_PIN_SET);	// Aux In LED Off
				}
				InputScanState = 0;
				break;
		}
		TimerInputScan = 10;
	}
}

void MCU_Status_Led_Cont(void)
{
	if(TimerMcuStatusLed==0)
	{
		if(McuStatusLedState==0)
		{
			HAL_GPIO_WritePin(MCU_STATUS_GPIO_Port, MCU_STATUS_Pin, GPIO_PIN_RESET);
			HAL_GPIO_WritePin(EXT_IN_1_LED_GPIO_Port, EXT_IN_1_LED_Pin, GPIO_PIN_RESET);
			HAL_GPIO_WritePin(EXT_IN_2_LED_GPIO_Port, EXT_IN_2_LED_Pin, GPIO_PIN_RESET);
			McuStatusLedState = 1;
		}
		else
		{
			HAL_GPIO_WritePin(MCU_STATUS_GPIO_Port, MCU_STATUS_Pin, GPIO_PIN_SET);
			HAL_GPIO_WritePin(EXT_IN_1_LED_GPIO_Port, EXT_IN_1_LED_Pin, GPIO_PIN_SET);
			HAL_GPIO_WritePin(EXT_IN_2_LED_GPIO_Port, EXT_IN_2_LED_Pin, GPIO_PIN_SET);
			McuStatusLedState = 0;
		}
		TimerMcuStatusLed = 125;
	}
}

void LedForChannel_Display(void)
{
	if(TimerLedForChannel==0)
	{
		switch(LedForChannel_OnOff)
		{
			case 0:	// Led Off
				HAL_GPIO_WritePin(LedPort[LedCnt], LedPin[LedCnt], GPIO_PIN_RESET);
				break;
			case 1:	// Led On
				HAL_GPIO_WritePin(LedPort[LedCnt], LedPin[LedCnt], GPIO_PIN_SET);
				break;
		}
		LedCnt++;
		if(LedCnt==8)
		{
			LedCnt = 0;
			switch(LedForChannel_OnOff)
			{
				case 0:
					LedForChannel_OnOff = 1;
					break;
				case 1:
					LedForChannel_OnOff = 0;
					break;
			}
			TimerLedForChannel = 500;
		}
		else
		{
			TimerLedForChannel = 50;
		}
	}
}

void Send_BoardToPc_WithCks(unsigned char* pBuf, unsigned short Length)
{
	unsigned short Cnt = 0;
	unsigned short CheckSum = 0;

	pBuf[0] = STX_BOARD_TO_PC;
	pBuf[1] = PC_ADDR;
	pBuf[2] = BOARD_ADDR;
	*(unsigned short*)(pBuf+3) = Length;
	for(Cnt=0; Cnt<(Length+6); Cnt++)
	{
		CheckSum += pBuf[Cnt];
	}
	*(unsigned short*)(pBuf+Length+6) = CheckSum;
	pBuf[Length+8] = END_BOARD_TO_PC;
	HAL_UART_Transmit(&huart3, pBuf, Length+9, 100);
}

void Send_BoardToPwrMon_WithCks(unsigned char* pBuf, unsigned char Length)
{
	unsigned char Cnt = 0;
	unsigned short CheckSum = 0;

	pBuf[0] = 0xA5;	// Header
	pBuf[1] = Length;
	for(Cnt=0; Cnt<(Length-1); Cnt++)
	{
		CheckSum += pBuf[Cnt];
	}
	pBuf[Length-1] = CheckSum;

	HAL_UART_Transmit(&huart4, pBuf, Length, 100);
}

void Uart3_Ethernet_Parsing(void)
{
	if(Uart3RxRdCnt != Uart3RxWrCnt)
	{
		unsigned char Rx3Data = 0;

		Rx3Data = Uart3RxBuf[Uart3RxRdCnt];

		switch(Uart3ParsingState)
		{
			case 0:	// STX
				if(Rx3Data==0x7E)
				{
					Uart3Cks = 0;
					Uart3Cks += Rx3Data;
					Uart3ParsingState++;
					TimerUart3Parsing = UART3_PARSING_TIMEOUT;
				}
				break;
			case 1:	// DA(Destination Addr)
				if(Rx3Data==BOARD_ADDR)
				{
					Uart3Cks += Rx3Data;
					Uart3ParsingState++;
					TimerUart3Parsing = UART3_PARSING_TIMEOUT;
				}
				else
				{
					Uart3ParsingState = 0;
					TimerUart3Parsing = 0;
				}
				break;
			case 2:	// SA(Source Addr)
				if(Rx3Data==PC_ADDR)
				{
					Uart3Cks += Rx3Data;
					Uart3ParsingState++;
					TimerUart3Parsing = UART3_PARSING_TIMEOUT;
				}
				else
				{
					Uart3ParsingState = 0;
					TimerUart3Parsing = 0;
				}
				break;
			case 3:	// Length(LSB)
				Uart3DataLength = Rx3Data;
				Uart3Cks += Rx3Data;
				Uart3ParsingState++;
				TimerUart3Parsing = UART3_PARSING_TIMEOUT;
				break;
			case 4:	// Length(MSB)
				Uart3DataLength |= (unsigned short)Rx3Data << 8;
				Uart3Cks += Rx3Data;
				Uart3ParsingState++;
				TimerUart3Parsing = UART3_PARSING_TIMEOUT;
				break;
			case 5:	// Cmd
				if(Rx3Data >= 0xA0 && Rx3Data <= 0xAF)
				{
					Uart3Cmd = Rx3Data;
					Uart3DataCnt = 0;
					Uart3Cks += Rx3Data;
					Uart3ParsingState++;
					TimerUart3Parsing = UART3_PARSING_TIMEOUT;
				}
				else
				{
					Uart3ParsingState = 0;
					TimerUart3Parsing = 0;
				}
				break;
			case 6:	// Data
				Uart3DataBuf[Uart3DataCnt] = Rx3Data;
				Uart3Cks += Rx3Data;
				Uart3DataCnt++;
				if(Uart3DataCnt==Uart3DataLength)
				{
					Uart3DataCnt = 0;
					Uart3ParsingState++;
				}
				TimerUart3Parsing = UART3_PARSING_TIMEOUT;
				break;
			case 7:	// CheckSum(LSB)
				if(Rx3Data==(Uart3Cks & 0x00FF))
				{
					Uart3ParsingState++;
					TimerUart3Parsing = UART3_PARSING_TIMEOUT;
				}
				else
				{
					Uart3ParsingState = 0;
					TimerUart3Parsing = 0;
				}
				break;
			case 8:	// CheckSum(MSB)
				if(Rx3Data==(Uart3Cks >> 8))
				{
					Uart3ParsingState++;
					TimerUart3Parsing = UART3_PARSING_TIMEOUT;
				}
				else
				{
					Uart3ParsingState = 0;
					TimerUart3Parsing = 0;
				}
				break;
			case 9:	// End
				if(Rx3Data == 0x81)
				{
					unsigned char Extractor = 0;

					switch(Uart3Cmd)
					{
						case PC_TO_BOARD_REQ_VER:
							Uart3TxBuf[5] = BOARD_TO_PC_ANS_VER;
							*(unsigned short*)(Uart3TxBuf+6) = *(unsigned short*)(0x08007800+6);
							Uart3TxBuf[8] = 1;	// Application Mode
							Send_BoardToPc_WithCks(Uart3TxBuf, 3);
							break;
						case PC_TO_BOARD_REQ_RESET:
							Eeprom_Write(EEPROM_IDX_RESET_REQ, 1);
							Eeprom_Write(EEPROM_IDX_JUMP_TO_APP_TIMEOUT, *(unsigned short*)Uart3DataBuf);
							HAL_NVIC_SystemReset();
							break;
						case PC_TO_BOARD_REQ_ERASE_PAGE:
							break;
						case PC_TO_BOARD_REQ_WRITE_PAGE:
							break;
						case PC_TO_BOARD_REQ_START_UPDATE:
							break;
						case PC_TO_BOARD_REQ_JUMP_TO_APP:
							break;
						case PC_TO_BOARD_REQ_GET_CHANNEL_POWER:
							Uart3TxBuf[5] = BOARD_TO_PC_ANS_GET_CHANNEL_POWER;
							Uart3TxBuf[6] = InputOld;
							Send_BoardToPc_WithCks(Uart3TxBuf, 1);
							break;
						case PC_TO_BOARD_REQ_GET_CHANNEL_RELAY:
							Uart3TxBuf[5] = BOARD_TO_PC_ANS_GET_CHANNEL_RELAY;
							Uart3TxBuf[6] = ChannelRelayState;
							Send_BoardToPc_WithCks(Uart3TxBuf, 1);
							break;
						case PC_TO_BOARD_REQ_SET_EACH_CHANNEL:
							if(Uart3DataBuf[0] < 8)	// 0~7
							{
								Extractor = 0x01 << Uart3DataBuf[0];
								if(Uart3DataBuf[1])	// Power On
								{
									ChannelRelayState |= Extractor;
									Channel_Relay_Cont(Extractor, RELAY_ON);
								}
								else
								{
									ChannelRelayState &= ~Extractor;
									Channel_Relay_Cont(Extractor, RELAY_OFF);
								}
							}
							if(ChannelRelayState != Eeprom_Read(EEPROM_IDX_CHANNEL_RELAY_STATUS))
							{
								Eeprom_Write(EEPROM_IDX_CHANNEL_RELAY_STATUS, ChannelRelayState);
							}
							Uart3TxBuf[5] = BOARD_TO_PC_ANS_SET_EACH_CHANNEL_RELAY;
							Uart3TxBuf[6] = 0;
							Send_BoardToPc_WithCks(Uart3TxBuf, 1);
							break;
						case PC_TO_BOARD_REQ_SET_ALL_CHANNEL:
							if(ChannelRelayState != Uart3DataBuf[0])
							{
								ChannelRelayState = Uart3DataBuf[0];
								Eeprom_Write(EEPROM_IDX_CHANNEL_RELAY_STATUS, ChannelRelayState);
								Channel_Relay_Cont(ChannelRelayState, RELAY_ON);
								Channel_Relay_Cont(~ChannelRelayState, RELAY_OFF);
							}
							Uart3TxBuf[5] = BOARD_TO_PC_ANS_SET_ALL_CHANNEL_RELAY;
							Uart3TxBuf[6] = 0;
							Send_BoardToPc_WithCks(Uart3TxBuf, 1);
							break;
					}
				}
				Uart3ParsingState = 0;
				TimerUart3Parsing = 0;
				break;
		}
		Uart3RxRdCnt++;
		if(Uart3RxRdCnt==UART3_RX_BUF_SIZE)
		{
			Uart3RxRdCnt = 0;
		}
	}
	if(TimerUart3Parsing==0)
	{
		if(Uart3ParsingState != 0)
		{
			Uart3ParsingState = 0;
		}
	}
}

void Uart4_PwrMon_Parsing(void)
{
	if(Uart4RxRdCnt != Uart4RxWrCnt)
	{
		unsigned char Rx4Data = 0;

		Rx4Data = Uart4RxBuf[Uart4RxRdCnt];

		switch(Uart4ParsingState)
		{
			case 0:	// Header
				if(Rx4Data==0xA5)
				{
					Uart4Cks = Rx4Data;
					Uart4ParsingState++;
					TimerUart4Parsing = UART4_PARSING_TIMEOUT;
				}
				break;
			case 1:	// Length
				if(Rx4Data < 0x30)	// 48Byte
				{
					Uart4Cks += Rx4Data;
					Uart4DataLength = Rx4Data - 4;	// exclusion of Header, Length, Command and Checksum
					Uart4DataCnt = 0;
					Uart4ParsingState++;
					TimerUart4Parsing = UART4_PARSING_TIMEOUT;
				}
				else
				{
					Uart4ParsingState = 0;
					TimerUart4Parsing = 0;
				}
				break;
			case 2:	// Cmd
				Uart4Cks += Rx4Data;
				Uart4Cmd = Rx4Data;
				Uart4ParsingState++;
				TimerUart4Parsing = UART4_PARSING_TIMEOUT;
				break;
			case 3:	// Data
				Uart4Cks += Rx4Data;
				Uart4DataBuf[Uart4DataCnt] = Rx4Data;
				Uart4DataCnt++;
				if(Uart4DataCnt==Uart4DataLength)
				{
					Uart4ParsingState++;
				}
				TimerUart4Parsing = UART4_PARSING_TIMEOUT;
				break;
			case 4:	// Checksum
				if(Rx4Data==Uart4Cks)
				{
					switch(Uart4Cmd)
					{
						default:
							break;
					}
				}
				Uart4ParsingState = 0;
				TimerUart4Parsing = 0;
				break;
		}
		Uart4RxRdCnt++;
		if(Uart4RxRdCnt==UART4_RX_BUF_SIZE)
		{
			Uart4RxRdCnt = 0;
		}
	}
	if(TimerUart4Parsing==0)
	{
		if(Uart4ParsingState != 0)
		{
			Uart4ParsingState = 0;
		}
	}
}
/* USER CODE END 4 */

void Error_Handler(void)
{
}

/************************ (C) COPYRIGHT STMicroelectronics *****END OF FILE****/
